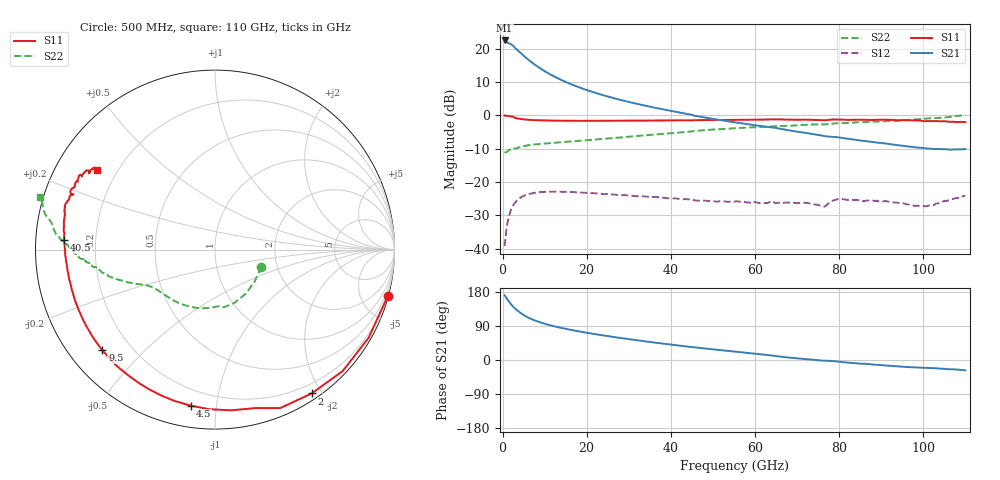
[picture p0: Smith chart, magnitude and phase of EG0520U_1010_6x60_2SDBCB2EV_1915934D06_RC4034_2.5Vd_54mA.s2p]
!File name = EG0520U_1010_6x60_2SDBCB2EV_1915934D06_RC4034_2.5Vd_54mA.s2p
!Base file name = EG0520U_1010_6x60_2SDBCB2EV_1915934D06_RC4034
!Date = 8/23/2019
!Time = 12:56 PM
!Test duration(min) = 0.15
!Test = S-Parameters
!MPTS version = 8.91.5
!State File = C:\Data\PNA\20190821205423\S-Parameters_2019-08-23.sta
!Cal File =
!ComputerName = CMPE-LAB-6
!Comments =
!Attenuation = 0
!Z0 = 50
!Input Power(dBm) = -13.00
!Device ID = EG0520U_1010_6x60_2SDBCB2EV
!Row = 40
!Column = 34
!Technology = QPHT09
!Lot/Wafer = 1915934D06
!Gate Size = 360
!Mask = EG0520
!Cal Standards = GaAs BCB
!Cal Kit = EG2306
!Job Number = 20190821205423
!Device Type = FET
!set_Vg(v) = -1.500
!set_Vd(v) = 2.500
!set_Vd(mA) = 54.000
!file_name = EG0520U_1010_6x60_2SDBCB2EV_1915934D06_RC4034_2.5Vd_54mA.s2p
!Vd(V) = 2.500
!Vd(mA) = 54.092
!Vg(V) = -0.427
!Vg(mA) = -0.001
# GHz  S  DB  R  50
!%	Freq(GHz)  s11(dB)  s11(deg)  s21(dB)  s21(deg)  s12(dB)  s12(deg)  s22(dB)  s22(deg)
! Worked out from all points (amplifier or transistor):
!   220 points, 500 MHz to 110 GHz, reference 50 ohm
!   highest |S21| = 22.5 dB at 500 MHz (marker M1)
!   |S21| within 3 dB of that: start of sweep to 3.637 GHz
!   unconditionally stable (mu >= 1): 33.84 GHz to 103.9 GHz
!   at 18.5 GHz: K = 0.53, MSG = 15.7 dB, |S12| = -23.1 dB
!   at 55.5 GHz: K = 1.46, MAG = 7.8 dB, |S12| = -25.8 dB
!   at 110 GHz: K = -1.09, MSG = 7.0 dB, |S12| = -24.1 dB
!   S11 on the Smith chart (normalised r, x): 500 MHz: 0.10, -7.56; 2 GHz: 0.08, -1.87; 4.5 GHz: 0.11, -0.85; 9.5 GHz: 0.10, -0.38; 40.5 GHz: 0.09, +0.03; 110 GHz: 0.13, +0.30
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0.5  -0.03 -15.1  22.50 170.9  -39.27 81.4  -11.21 -20.3
1  -0.11 -29.8  22.05 162.2  -33.50 73.5  -10.96 -38.3
2  -0.30 -56.1  21.39 147.3  -28.38 59.1  -10.03 -69.5
2.5  -0.40 -67.6  20.94 140.9  -27.02 53.2  -9.75 -81.1
3  -0.80 -75.4  20.24 135.9  -26.21 48.9  -10.01 -86.2
3.5  -0.92 -84.2  19.66 130.8  -25.47 44.5  -9.76 -94.4
4.5  -1.11 -98.9  18.51 122.3  -24.49 37.2  -9.36 -107.6
5.5  -1.25 -110.5  17.40 115.4  -23.91 31.6  -9.10 -117.2
6.5  -1.35 -119.7  16.35 109.8  -23.53 27.2  -8.89 -124.3
7.5  -1.42 -127.1  15.39 105.0  -23.28 23.6  -8.72 -129.7
9.5  -1.50 -138.2  13.68 97.4  -22.98 18.1  -8.51 -136.8
11.5  -1.56 -146.4  12.20 91.1  -22.91 14.1  -8.32 -141.9
13.5  -1.59 -152.6  10.92 85.8  -22.91 11.1  -8.11 -145.4
19  -1.64 -164.0  8.05 73.8  -23.17 5.8  -7.56 -150.9
26.5  -1.62 -173.2  5.15 60.6  -23.74 2.8  -6.77 -155.0
37  -1.53 178.7  2.09 44.8  -24.55 2.5  -5.65 -159.7
40.5  -1.49 176.4  1.24 40.0  -24.92 3.2  -5.27 -161.4
55.5  -1.34 168.0  -2.11 21.9  -25.78 6.3  -3.83 -168.7
73.5  -1.34 159.2  -5.55 0.9  -26.64 3.2  -2.71 -175.4
92  -1.34 150.9  -8.61 -15.3  -25.94 -9.9  -1.68 178.1
102  -1.73 148.1  -10.05 -21.4  -27.17 -4.9  -0.84 172.4
110  -2.02 146.1  -10.10 -27.4  -24.14 -9.5  0.14 163.4
